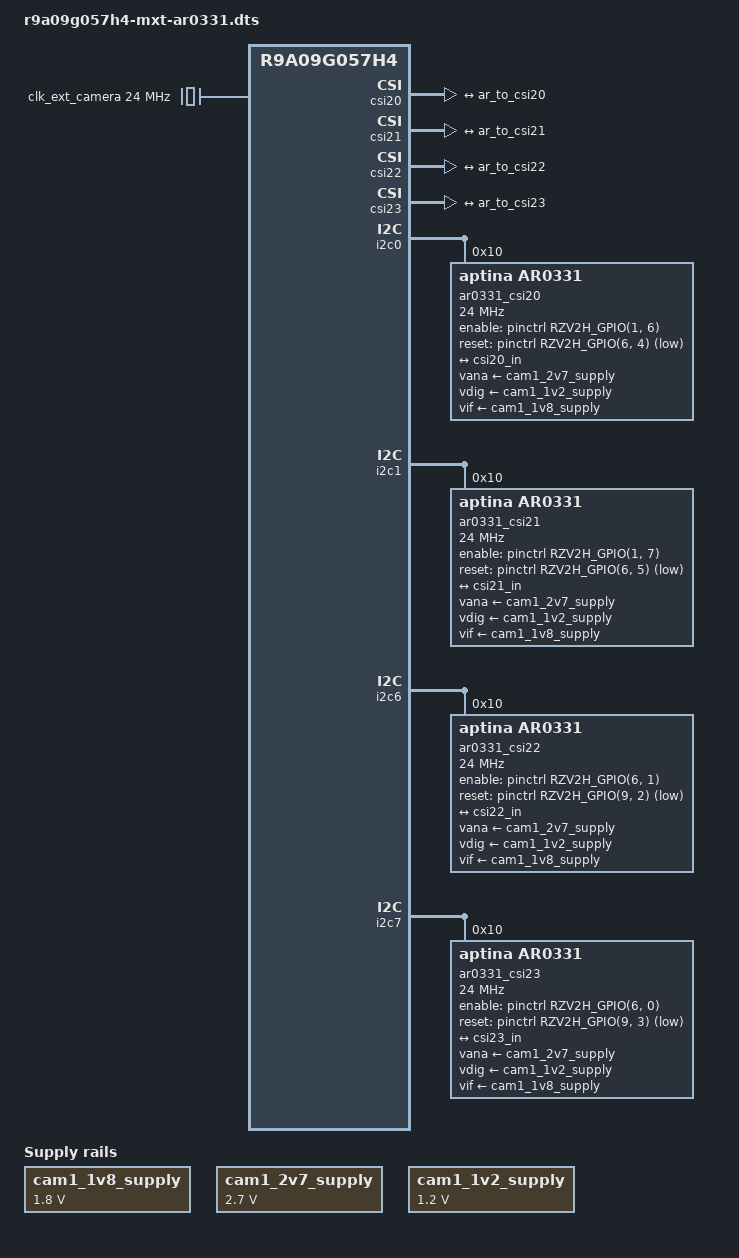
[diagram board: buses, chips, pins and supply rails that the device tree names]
// SPDX-License-Identifier: (GPL-2.0-only OR BSD-2-Clause)
/*
 * Device Tree Source for the RZ/V2H EVK MXT board variant (AR0331 camera)
 *
 * Copyright (C) 2025 Renesas Electronics Corporation
 * Copyright (C) 2024 MXT Creation SRL
 */

/dts-v1/;
#include "rzv2h-evk-ver1.dts"

/ {
	/delete-node/ 1p8v;
	/delete-node/ 2p8v;
	/delete-node/ 1p5v;
		
	cam1_1v8_supply: 1p8v {
		compatible = "regulator-fixed";
		regulator-name = "cam1_1v8_supply";
		regulator-min-microvolt = <1800000>;
		regulator-max-microvolt = <1800000>;
		regulator-always-on;
	};

	cam1_2v7_supply: 2p7v {
		compatible = "regulator-fixed";
		regulator-name = "cam1_2v7_supply";
		regulator-min-microvolt = <2700000>;
		regulator-max-microvolt = <2700000>;
		regulator-always-on;
	};

	cam1_1v2_supply: 1p2v {
		compatible = "regulator-fixed";
		regulator-name = "cam1_1v2_supply";
		regulator-min-microvolt = <1200000>;
		regulator-max-microvolt = <1200000>;
		regulator-always-on;
	};

	clk_ext_camera: clk_ext_camera {
		compatible = "fixed-clock";
		#clock-cells = <0>;
		clock-frequency = <24000000>;
	};
};
&csi20 {
	status = "okay";

	ports {
		port {
			csi20_in: endpoint {
				clock-lanes = <0>;
				data-lanes = <1>;
				remote-endpoint = <&ar_to_csi20>;
			};
		};
	};
};

&csi21 {
	status = "okay";

	ports {
		port {
			csi21_in: endpoint {
				clock-lanes = <0>;
				data-lanes = <1>;
				remote-endpoint = <&ar_to_csi21>;
			};
		};
	};
};

&csi22 {
	status = "okay";

	ports {
		port {
			csi22_in: endpoint {
				clock-lanes = <0>;
				data-lanes = <1>;
				remote-endpoint = <&ar_to_csi22>;
			};
		};
	};
};

&csi23 {
	status = "okay";

	ports {
		port {
			csi23_in: endpoint {
				clock-lanes = <0>;
				data-lanes = <1>;
				remote-endpoint = <&ar_to_csi23>;
			};
		};
	};
};

&i2c0 {
	pinctrl-0 = <&i2c0_pins>;
	pinctrl-names = "default";

	status = "okay";
	
	ar0331_csi20: ar0331_csi20@10 {
		compatible = "aptina,ar0331";
		reg = <0x10>;
		clock-names = "xclk";
		clocks = <&clk_ext_camera>;
		clock-frequency = <24000000>;
		vana-supply = <&cam1_2v7_supply>;
		vdig-supply = <&cam1_1v2_supply>;
		vif-supply = <&cam1_1v8_supply>;
		
		/* Set dummy enable gpio */
		enable-gpios = <&pinctrl RZV2H_GPIO(1, 6) GPIO_ACTIVE_HIGH>;
		reset-gpios = <&pinctrl RZV2H_GPIO(6, 4) GPIO_ACTIVE_LOW>;

		port {
			ar_to_csi20: endpoint {
				clock-lanes = <0>;
				data-lanes = <1>;
				remote-endpoint = <&csi20_in>;
			};
		};
	};
	
	/delete-node/ ov5645_csi20@3c;
};

&i2c1 {
	pinctrl-0 = <&i2c1_pins>;
	pinctrl-names = "default";

	status = "okay";
	
	ar0331_csi21: ar0331_csi21@10 {
		compatible = "aptina,ar0331";
		reg = <0x10>;
		clock-names = "xclk";
		clocks = <&clk_ext_camera>;
		clock-frequency = <24000000>;
		vana-supply = <&cam1_2v7_supply>;
		vdig-supply = <&cam1_1v2_supply>;
		vif-supply = <&cam1_1v8_supply>;
		
		/* Set dummy enable gpio */
		enable-gpios = <&pinctrl RZV2H_GPIO(1, 7) GPIO_ACTIVE_HIGH>;
		reset-gpios = <&pinctrl RZV2H_GPIO(6, 5) GPIO_ACTIVE_LOW>;

		port {
			ar_to_csi21: endpoint {
				clock-lanes = <0>;
				data-lanes = <1>;
				remote-endpoint = <&csi21_in>;
			};
		};
	};
	
	/delete-node/ ov5645_csi21@3c;
};

&i2c6 {
	pinctrl-0 = <&i2c6_pins>;
	pinctrl-names = "default";

	status = "okay";
	
	ar0331_csi22: ar0331_csi22@10 {
		compatible = "aptina,ar0331";
		reg = <0x10>;
		clock-names = "xclk";
		clocks = <&clk_ext_camera>;
		clock-frequency = <24000000>;
		vana-supply = <&cam1_2v7_supply>;
		vdig-supply = <&cam1_1v2_supply>;
		vif-supply = <&cam1_1v8_supply>;
		
		enable-gpios = <&pinctrl RZV2H_GPIO(6, 1) GPIO_ACTIVE_HIGH>;
		reset-gpios = <&pinctrl RZV2H_GPIO(9, 2) GPIO_ACTIVE_LOW>;

		port {
			ar_to_csi22: endpoint {
				clock-lanes = <0>;
				data-lanes = <1>;
				remote-endpoint = <&csi22_in>;
			};
		};
	};
	
	/delete-node/ ov5645_csi22@3c;
};

&i2c7 {
	pinctrl-0 = <&i2c7_pins>;
	pinctrl-names = "default";

	status = "okay";
	
	ar0331_csi23: ar0331_csi23@10 {
		compatible = "aptina,ar0331";
		reg = <0x10>;
		clock-names = "xclk";
		clocks = <&clk_ext_camera>;
		clock-frequency = <24000000>;
		vana-supply = <&cam1_2v7_supply>;
		vdig-supply = <&cam1_1v2_supply>;
		vif-supply = <&cam1_1v8_supply>;
		
		enable-gpios = <&pinctrl RZV2H_GPIO(6, 0) GPIO_ACTIVE_HIGH>;
		reset-gpios = <&pinctrl RZV2H_GPIO(9, 3) GPIO_ACTIVE_LOW>;

		port {
			ar_to_csi23: endpoint {
				clock-lanes = <0>;
				data-lanes = <1>;
				remote-endpoint = <&csi23_in>;
			};
		};
	};
	
	/delete-node/ ov5645_csi23@3c;
};

